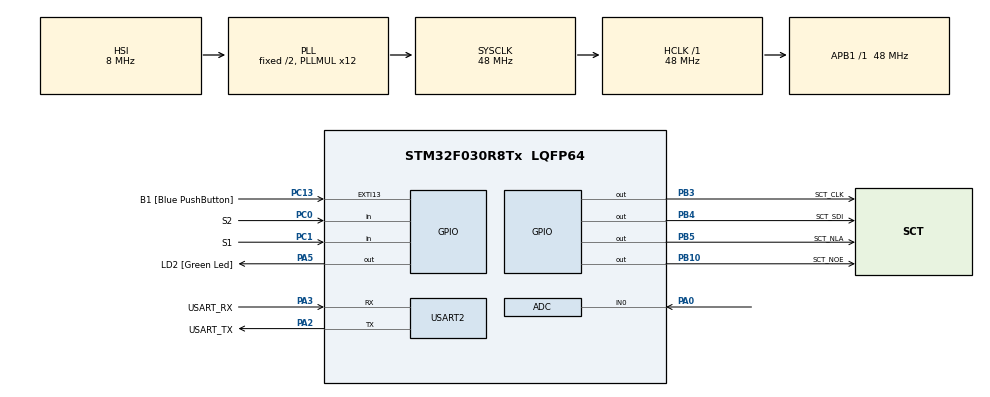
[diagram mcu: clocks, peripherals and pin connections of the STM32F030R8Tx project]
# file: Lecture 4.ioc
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ADC.ContinuousConvMode=ENABLE
ADC.Overrun=ADC_OVR_DATA_OVERWRITTEN
ADC.SamplingTime=ADC_SAMPLETIME_239CYCLES_5
Mcu.Family=STM32F0
Mcu.Name=STM32F030R8Tx
Mcu.Package=LQFP64
NVIC.ADC1_IRQn=true\:0\:0\:false\:false\:true\:true\:true\:true
PA0.Mode=IN0
PA0.Signal=ADC_IN0
PA13.GPIO_Label=TMS
PA13.Mode=Serial_Wire
PA13.Signal=SYS_SWDIO
PA14.GPIO_Label=TCK
PA14.Mode=Serial_Wire
PA14.Signal=SYS_SWCLK
PA2.GPIO_Label=USART_TX
PA2.GPIO_Mode=GPIO_MODE_AF_PP
PA2.GPIO_PuPd=GPIO_NOPULL
PA2.GPIO_Speed=GPIO_SPEED_FREQ_LOW
PA2.Mode=Asynchronous
PA2.Signal=USART2_TX
PA3.GPIO_Label=USART_RX
PA3.GPIO_Mode=GPIO_MODE_AF_PP
PA3.GPIO_PuPd=GPIO_NOPULL
PA3.GPIO_Speed=GPIO_SPEED_FREQ_LOW
PA3.Mode=Asynchronous
PA3.Signal=USART2_RX
PA5.GPIO_Label=LD2 [Green Led]
PA5.GPIO_Mode=GPIO_MODE_OUTPUT_PP
PA5.GPIO_PuPd=GPIO_NOPULL
PA5.GPIO_Speed=GPIO_SPEED_FREQ_LOW
PA5.Signal=GPIO_Output
PB10.GPIO_Label=SCT_NOE
PB10.Signal=GPIO_Output
PB3.GPIO_Label=SCT_CLK
PB3.Signal=GPIO_Output
PB4.GPIO_Label=SCT_SDI
PB4.Signal=GPIO_Output
PB5.GPIO_Label=SCT_NLA
PB5.Signal=GPIO_Output
PC0.GPIO_Label=S2
PC0.GPIO_PuPd=GPIO_PULLUP
PC0.Signal=GPIO_Input
PC1.GPIO_Label=S1
PC1.GPIO_PuPd=GPIO_PULLUP
PC1.Signal=GPIO_Input
PC13.GPIO_Label=B1 [Blue PushButton]
PC13.GPIO_ModeDefaultEXTI=GPIO_MODE_IT_FALLING
PC13.Signal=GPXTI13
PC14-OSC32_IN.Mode=LSE-External-Oscillator
PC14-OSC32_IN.Signal=RCC_OSC32_IN
PC15-OSC32_OUT.Mode=LSE-External-Oscillator
PC15-OSC32_OUT.Signal=RCC_OSC32_OUT
PF0-OSC_IN.Mode=HSE-External-Clock-Source
PF0-OSC_IN.Signal=RCC_OSC_IN
PF1-OSC_OUT.Signal=RCC_OSC_OUT
ProjectManager.HeapSize=0x200
ProjectManager.StackSize=0x400
ProjectManager.TargetToolchain=STM32CubeIDE
RCC.AHBFreq_Value=48000000
RCC.APB1Freq_Value=48000000
RCC.APB1TimFreq_Value=48000000
RCC.HCLKFreq_Value=48000000
RCC.PLLMUL=RCC_PLL_MUL12
RCC.SYSCLKFreq_VALUE=48000000
RCC.SYSCLKSource=RCC_SYSCLKSOURCE_PLLCLK
USART2.VirtualMode-Asynchronous=VM_ASYNC
VP_ADC_TempSens_Input.Mode=IN-TempSens
VP_ADC_Vref_Input.Mode=IN-Vrefint
board=NUCLEO-F030R8

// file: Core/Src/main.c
/* USER CODE BEGIN Header */
/**
  ******************************************************************************
  * @file           : main.c
  * @brief          : Main program body
  ******************************************************************************
  * @attention
  *
  * Copyright (c) 2023 STMicroelectronics.
  * All rights reserved.
  *
  * This software is licensed under terms that can be found in the LICENSE file
  * in the root directory of this software component.
  * If no LICENSE file comes with this software, it is provided AS-IS.
  *
  ******************************************************************************
  */
/* USER CODE END Header */
#include "main.h"

/* USER CODE BEGIN Includes */
#include "sct.h"
/* USER CODE END Includes */

/* USER CODE BEGIN PTD */
typedef enum { SHOW_POT, SHOW_VOLT, SHOW_TEMP } dispState_t;
/* USER CODE END PTD */

/* USER CODE BEGIN PD */
#define ADC_Q	(12)

/* Temperature sensor calibration value address */
#define TEMP110_CAL_ADDR ((uint16_t*) ((uint32_t) 0x1FFFF7C2))
#define TEMP30_CAL_ADDR ((uint16_t*) ((uint32_t) 0x1FFFF7B8))
/* Internal voltage reference calibration value address */
#define VREFINT_CAL_ADDR ((uint16_t*) ((uint32_t) 0x1FFFF7BA))

/* USER CODE END PD */

static uint32_t Tick = 0;
static volatile uint32_t raw_pot, raw_temp, raw_volt;

ADC_HandleTypeDef hadc;

UART_HandleTypeDef huart2;

void SystemClock_Config(void);
static void MX_GPIO_Init(void);
static void MX_USART2_UART_Init(void);
static void MX_ADC_Init(void);

/* USER CODE BEGIN 0 */
void HAL_ADC_ConvCpltCallback(ADC_HandleTypeDef* hadc)
{
	static uint32_t avg_pot, channel;

	if (channel == 0) {
		raw_pot = avg_pot >> ADC_Q;
		avg_pot -= raw_pot;
		avg_pot += HAL_ADC_GetValue(hadc);

	} else if (channel == 1) {
		raw_temp = HAL_ADC_GetValue(hadc);

	} else if (channel == 2) {
		raw_volt = HAL_ADC_GetValue(hadc);
	}

	if (__HAL_ADC_GET_FLAG(hadc, ADC_FLAG_EOS)) channel = 0;
	else channel++;
}

void display(dispState_t state) {
	if (state == SHOW_POT) {
		sct_value(raw_pot * 500.9 / 4095, raw_pot * 9 / 4095);
		HAL_Delay(50);

	} else if (state == SHOW_TEMP) { //S2
		int32_t temperature = (raw_temp - (int32_t)(*TEMP30_CAL_ADDR));

		temperature = temperature * (int32_t)(110 - 30);
		temperature = temperature / (int32_t)(*TEMP110_CAL_ADDR - *TEMP30_CAL_ADDR);
		temperature = temperature + 30;

		sct_value(temperature, 0);

	} else if (state == SHOW_VOLT) { //S1
		uint32_t voltage = 330 * (*VREFINT_CAL_ADDR) / raw_volt;

		sct_value(voltage, 0);
	}
}
/* USER CODE END 0 */

int main(void)
{

  /* MCU Configuration--------------------------------------------------------*/

  /* Reset of all peripherals, Initializes the Flash interface and the Systick. */
  HAL_Init();

  /* Configure the system clock */
  SystemClock_Config();

  /* Initialize all configured peripherals */
  MX_GPIO_Init();
  MX_USART2_UART_Init();
  MX_ADC_Init();
  /* USER CODE BEGIN 2 */
  sct_init();
  HAL_ADCEx_Calibration_Start(&hadc);
  HAL_ADC_Start_IT(&hadc);

  Tick = HAL_GetTick();
  /* USER CODE END 2 */

  /* Infinite loop */
  /* USER CODE BEGIN WHILE */
  while (1)
  {
	static dispState_t state = SHOW_POT;
	static uint32_t oldTick = 0;

	uint8_t s1 = HAL_GPIO_ReadPin(S1_GPIO_Port, S1_Pin); //VOLT
	uint8_t s2 = HAL_GPIO_ReadPin(S2_GPIO_Port, S2_Pin); //TEMP

	if (!s1 && s2) {
		oldTick = HAL_GetTick();
		state = SHOW_VOLT;
	}
	if (s1 && !s2){
		oldTick = HAL_GetTick();
		state = SHOW_TEMP;
	}

	display(state);

	Tick = HAL_GetTick();
	if (oldTick + 1000 <= Tick)
		state = SHOW_POT;

    /* USER CODE END WHILE */

  }
}

void SystemClock_Config(void)
{
  RCC_OscInitTypeDef RCC_OscInitStruct = {0};
  RCC_ClkInitTypeDef RCC_ClkInitStruct = {0};

  /** Initializes the RCC Oscillators according to the specified parameters
  * in the RCC_OscInitTypeDef structure.
  */
  RCC_OscInitStruct.OscillatorType = RCC_OSCILLATORTYPE_HSI|RCC_OSCILLATORTYPE_HSI14;
  RCC_OscInitStruct.HSIState = RCC_HSI_ON;
  RCC_OscInitStruct.HSI14State = RCC_HSI14_ON;
  RCC_OscInitStruct.HSICalibrationValue = RCC_HSICALIBRATION_DEFAULT;
  RCC_OscInitStruct.HSI14CalibrationValue = 16;
  RCC_OscInitStruct.PLL.PLLState = RCC_PLL_ON;
  RCC_OscInitStruct.PLL.PLLSource = RCC_PLLSOURCE_HSI;
  RCC_OscInitStruct.PLL.PLLMUL = RCC_PLL_MUL12;
  RCC_OscInitStruct.PLL.PREDIV = RCC_PREDIV_DIV1;
  if (HAL_RCC_OscConfig(&RCC_OscInitStruct) != HAL_OK)
  {
    Error_Handler();
  }

  /** Initializes the CPU, AHB and APB buses clocks
  */
  RCC_ClkInitStruct.ClockType = RCC_CLOCKTYPE_HCLK|RCC_CLOCKTYPE_SYSCLK
                              |RCC_CLOCKTYPE_PCLK1;
  RCC_ClkInitStruct.SYSCLKSource = RCC_SYSCLKSOURCE_PLLCLK;
  RCC_ClkInitStruct.AHBCLKDivider = RCC_SYSCLK_DIV1;
  RCC_ClkInitStruct.APB1CLKDivider = RCC_HCLK_DIV1;

  if (HAL_RCC_ClockConfig(&RCC_ClkInitStruct, FLASH_LATENCY_1) != HAL_OK)
  {
    Error_Handler();
  }
}

static void MX_ADC_Init(void)
{

  ADC_ChannelConfTypeDef sConfig = {0};

  /** Configure the global features of the ADC (Clock, Resolution, Data Alignment and number of conversion)
  */
  hadc.Instance = ADC1;
  hadc.Init.ClockPrescaler = ADC_CLOCK_ASYNC_DIV1;
  hadc.Init.Resolution = ADC_RESOLUTION_12B;
  hadc.Init.DataAlign = ADC_DATAALIGN_RIGHT;
  hadc.Init.ScanConvMode = ADC_SCAN_DIRECTION_FORWARD;
  hadc.Init.EOCSelection = ADC_EOC_SINGLE_CONV;
  hadc.Init.LowPowerAutoWait = DISABLE;
  hadc.Init.LowPowerAutoPowerOff = DISABLE;
  hadc.Init.ContinuousConvMode = ENABLE;
  hadc.Init.DiscontinuousConvMode = DISABLE;
  hadc.Init.ExternalTrigConv = ADC_SOFTWARE_START;
  hadc.Init.ExternalTrigConvEdge = ADC_EXTERNALTRIGCONVEDGE_NONE;
  hadc.Init.DMAContinuousRequests = DISABLE;
  hadc.Init.Overrun = ADC_OVR_DATA_OVERWRITTEN;
  if (HAL_ADC_Init(&hadc) != HAL_OK)
  {
    Error_Handler();
  }

  /** Configure for the selected ADC regular channel to be converted.
  */
  sConfig.Channel = ADC_CHANNEL_0;
  sConfig.Rank = ADC_RANK_CHANNEL_NUMBER;
  sConfig.SamplingTime = ADC_SAMPLETIME_239CYCLES_5;
  if (HAL_ADC_ConfigChannel(&hadc, &sConfig) != HAL_OK)
  {
    Error_Handler();
  }

  /** Configure for the selected ADC regular channel to be converted.
  */
  sConfig.Channel = ADC_CHANNEL_TEMPSENSOR;
  if (HAL_ADC_ConfigChannel(&hadc, &sConfig) != HAL_OK)
  {
    Error_Handler();
  }

  /** Configure for the selected ADC regular channel to be converted.
  */
  sConfig.Channel = ADC_CHANNEL_VREFINT;
  if (HAL_ADC_ConfigChannel(&hadc, &sConfig) != HAL_OK)
  {
    Error_Handler();
  }

}

static void MX_USART2_UART_Init(void)
{

  huart2.Instance = USART2;
  huart2.Init.BaudRate = 38400;
  huart2.Init.WordLength = UART_WORDLENGTH_8B;
  huart2.Init.StopBits = UART_STOPBITS_1;
  huart2.Init.Parity = UART_PARITY_NONE;
  huart2.Init.Mode = UART_MODE_TX_RX;
  huart2.Init.HwFlowCtl = UART_HWCONTROL_NONE;
  huart2.Init.OverSampling = UART_OVERSAMPLING_16;
  huart2.Init.OneBitSampling = UART_ONE_BIT_SAMPLE_DISABLE;
  huart2.AdvancedInit.AdvFeatureInit = UART_ADVFEATURE_NO_INIT;
  if (HAL_UART_Init(&huart2) != HAL_OK)
  {
    Error_Handler();
  }

}

static void MX_GPIO_Init(void)
{
  GPIO_InitTypeDef GPIO_InitStruct = {0};

  /* GPIO Ports Clock Enable */
  __HAL_RCC_GPIOC_CLK_ENABLE();
  __HAL_RCC_GPIOF_CLK_ENABLE();
  __HAL_RCC_GPIOA_CLK_ENABLE();
  __HAL_RCC_GPIOB_CLK_ENABLE();

  /*Configure GPIO pin Output Level */
  HAL_GPIO_WritePin(LD2_GPIO_Port, LD2_Pin, GPIO_PIN_RESET);

  /*Configure GPIO pin Output Level */
  HAL_GPIO_WritePin(GPIOB, SCT_NOE_Pin|SCT_CLK_Pin|SCT_SDI_Pin|SCT_NLA_Pin, GPIO_PIN_RESET);

  /*Configure GPIO pin : B1_Pin */
  GPIO_InitStruct.Pin = B1_Pin;
  GPIO_InitStruct.Mode = GPIO_MODE_IT_FALLING;
  GPIO_InitStruct.Pull = GPIO_NOPULL;
  HAL_GPIO_Init(B1_GPIO_Port, &GPIO_InitStruct);

  /*Configure GPIO pins : S2_Pin S1_Pin */
  GPIO_InitStruct.Pin = S2_Pin|S1_Pin;
  GPIO_InitStruct.Mode = GPIO_MODE_INPUT;
  GPIO_InitStruct.Pull = GPIO_PULLUP;
  HAL_GPIO_Init(GPIOC, &GPIO_InitStruct);

  /*Configure GPIO pin : LD2_Pin */
  GPIO_InitStruct.Pin = LD2_Pin;
  GPIO_InitStruct.Mode = GPIO_MODE_OUTPUT_PP;
  GPIO_InitStruct.Pull = GPIO_NOPULL;
  GPIO_InitStruct.Speed = GPIO_SPEED_FREQ_LOW;
  HAL_GPIO_Init(LD2_GPIO_Port, &GPIO_InitStruct);

  /*Configure GPIO pins : SCT_NOE_Pin SCT_CLK_Pin SCT_SDI_Pin SCT_NLA_Pin */
  GPIO_InitStruct.Pin = SCT_NOE_Pin|SCT_CLK_Pin|SCT_SDI_Pin|SCT_NLA_Pin;
  GPIO_InitStruct.Mode = GPIO_MODE_OUTPUT_PP;
  GPIO_InitStruct.Pull = GPIO_NOPULL;
  GPIO_InitStruct.Speed = GPIO_SPEED_FREQ_LOW;
  HAL_GPIO_Init(GPIOB, &GPIO_InitStruct);

}

void Error_Handler(void)
{
  __disable_irq();
  while (1)
  {
  }
}
